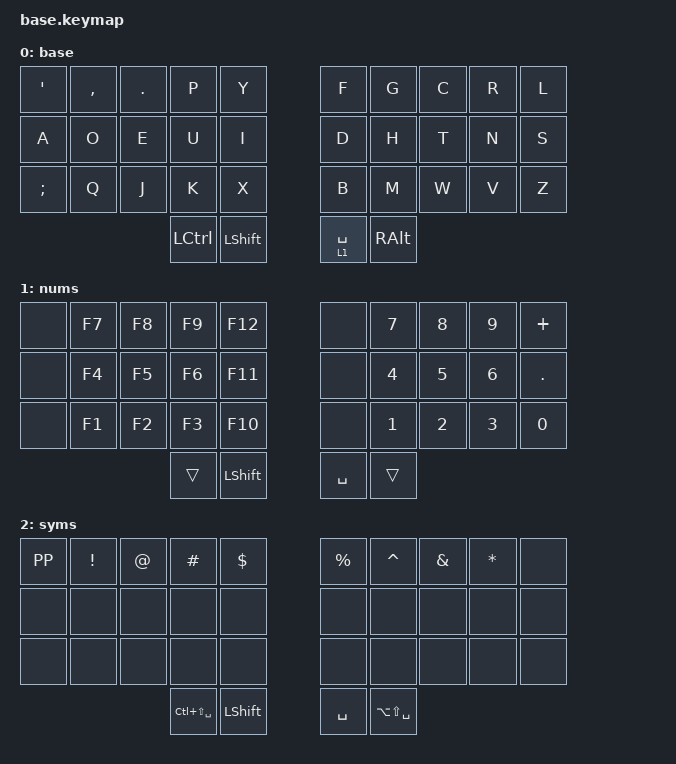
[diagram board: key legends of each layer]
// Copyright (c) 2022 The ZMK Contributors
// SPDX-License-Identifier: MIT

#include <behaviors.dtsi>
#include <dt-bindings/zmk/keys.h>

#include "../zmk-nodefree-config/helper.h"

#include "extra_keys.h"

#define ___ &trans
#define XXX &none

#define XXX &none
#define ___ &trans

/*                              34 KEY MATRIX / LAYOUT MAPPING

           ╭───────────────┬────────────────╮                 ╭─────────────────┬─────────────────╮
  ╭────────╯ 0   1   2   3 │  4   5   6   7 ╰───────╮ ╭───────╯ LT3 LT2 LT1 LT0 │ RT0 RT1 RT2 RT3 ╰───────╮
  │  8   9  10  11  12  13 │ 14  15  16  17  18  19 │ │ LM5 LM4 LM3 LM2 LM1 LM0 │ RM0 RM1 RM2 RM3 RM4 RM5 │
  ╰───╮ 20  21  22  23  24 │ 25  26  27  28  29 ╭───╯ ╰───╮ LB4 LB3 LB2 LB1 LB0 │ RB0 RB1 RB2 RB3 RB4 ╭───╯
      ╰───────────╮ 30  31 │ 32  33 ╭───────────╯         ╰───────────╮ LH1 LH0 │ RH0 RH1 ╭───────────╯
                  ╰────────┴────────╯                                 ╰─────────┴─────────╯             */

/* Global settings */

#define QUICK_TAP_MS 175

&lt {  // layer-tap config
    flavor = "balanced";
    tapping-term-ms = <200>;
    quick-tap-ms = <QUICK_TAP_MS>;
};

/* Combos and chords, the basis of basically this entire layout. */
#define COMBO_JOINTLY_MS 25
ZMK_COMBO(c_lsuper, &kp LGUI, LM2 LM1, ALL, COMBO_JOINTLY_MS)
ZMK_COMBO(c_rsuper, &kp RGUI, RM1 RM2, ALL, COMBO_JOINTLY_MS)
ZMK_COMBO(c_launcher, &kp LG(LS(SPACE)), LM2 LM1 RM1 RM2, ALL, COMBO_JOINTLY_MS)
ZMK_COMBO(c_esc, &kp ESC, LT3 LT2, ALL, COMBO_JOINTLY_MS)
ZMK_COMBO(c_grv, &kp GRAVE, LT3 LT2 LT0, ALL, COMBO_JOINTLY_MS)
ZMK_COMBO(c_tab, &kp TAB, LT4 LM4, ALL, COMBO_JOINTLY_MS)
ZMK_COMBO(c_ins, &kp INS, LT4 LM4 LB4, ALL, COMBO_JOINTLY_MS)
ZMK_COMBO(c_mins, &kp MINUS, RM3 RM4, ALL, COMBO_JOINTLY_MS)
ZMK_COMBO(c_ent, &kp ENTER, RM4 RT4, ALL, COMBO_JOINTLY_MS)
ZMK_COMBO(c_slsh, &kp SLASH, RB3 RB4, ALL, COMBO_JOINTLY_MS)
ZMK_COMBO(c_pipe, &kp BACKSLASH, RM4 RT4 RB4, ALL, COMBO_JOINTLY_MS)
ZMK_COMBO(c_plus, &kp PLUS, LB0 LB2 LB3, ALL, COMBO_JOINTLY_MS)
ZMK_COMBO(c_eql, &kp EQUAL, RB0 RB2 RB3, ALL, COMBO_JOINTLY_MS)
ZMK_COMBO(c_lprn, &kp LPAR, LT0 LT1, ALL, COMBO_JOINTLY_MS)
ZMK_COMBO(c_rprn, &kp RPAR, RT0 RT1, ALL, COMBO_JOINTLY_MS)
ZMK_COMBO(c_lbrk, &kp LBKT, LB0 LB1, ALL, COMBO_JOINTLY_MS)
ZMK_COMBO(c_rbrk, &kp RBKT, RB0 RB1, ALL, COMBO_JOINTLY_MS)
// c_lbrc and c_rbrc are implicit (and more forgiving of thumb timing) given LBKT/RBKT
// ([ ]) turning into { } with Shift
ZMK_COMBO(c_arrup, &kp UP, LT1 LT2, ALL, COMBO_JOINTLY_MS)
ZMK_COMBO(c_arrleft, &kp LEFT, LM2 LM3, ALL, COMBO_JOINTLY_MS)
ZMK_COMBO(c_arrright, &kp RIGHT, LM0 LM1, ALL, COMBO_JOINTLY_MS)
ZMK_COMBO(c_arrdown, &kp DOWN, LB1 LB2, ALL, COMBO_JOINTLY_MS)
ZMK_COMBO(c_pgup, &kp PG_UP, RT1 RT2, ALL, COMBO_JOINTLY_MS)
ZMK_COMBO(c_home, &kp HOME, RM0 RM1, ALL, COMBO_JOINTLY_MS)
ZMK_COMBO(c_end, &kp END, RM2 RM3, ALL, COMBO_JOINTLY_MS)
ZMK_COMBO(c_pgdn, &kp PG_DN, RB1 RB2, ALL, COMBO_JOINTLY_MS)
ZMK_COMBO(c_supup, &kp LG(UP), LT3 LT2 LT1, ALL, COMBO_JOINTLY_MS)
ZMK_COMBO(c_supleft, &kp LG(LEFT), LM3 LM2 LM1, ALL, COMBO_JOINTLY_MS)
ZMK_COMBO(c_supright, &kp LG(RIGHT), LM2 LM1 LM0, ALL, COMBO_JOINTLY_MS)
ZMK_COMBO(c_supdn, &kp LG(DOWN), LB3 LB2 LB1, ALL, COMBO_JOINTLY_MS)
ZMK_COMBO(c_mfa, &kp LG(O), LT2 LT1 LT0, ALL, COMBO_JOINTLY_MS)
ZMK_COMBO(c_pwd, &kp LG(LC(O)), RT0 RT1 RT2, ALL, COMBO_JOINTLY_MS)
ZMK_COMBO(c_brightup, &kp C_BRI_UP, RT1 RT2 RT3, ALL, COMBO_JOINTLY_MS)
ZMK_COMBO(c_brightdn, &kp C_BRI_DN, RB1 RB2 RB3, ALL, COMBO_JOINTLY_MS)
ZMK_COMBO(c_voldn, &kp K_VOL_DN, LB2 LB1 LB0, ALL, COMBO_JOINTLY_MS)
ZMK_COMBO(c_volup, &kp K_VOL_UP, RB0 RB1 RB2, ALL, COMBO_JOINTLY_MS)
ZMK_COMBO(c_volmute, &kp K_MUTE, LB2 LB1 LB0 RB0 RB1 RB2, ALL, COMBO_JOINTLY_MS)

// misc aliases
#define C_S_SPACE &kp LC(LS(SPACE))
#define A_S_SPACE &kp LA(LS(SPACE))
#define NUMS_SPACE &lt 1 SPACE

/* Keymap */

ZMK_LAYER(base,
// ╭─────────────┬─────────────┬─────────────┬─────────────┬─────────────╮ ╭─────────────┬─────────────┬─────────────┬─────────────┬─────────────╮
     &kp SQT       &kp COMMA     &kp DOT       &kp P         &kp Y           &kp F         &kp G         &kp C         &kp R         &kp L
// ├─────────────┼─────────────┼─────────────┼─────────────┼─────────────┤ ├─────────────┼─────────────┼─────────────┼─────────────┼─────────────┤
     &kp A         &kp O         &kp E         &kp U         &kp I           &kp D         &kp H         &kp T         &kp N         &kp S
// ├─────────────┼─────────────┼─────────────┼─────────────┼─────────────┤ ├─────────────┼─────────────┼─────────────┼─────────────┼─────────────┤
     &kp SEMICOLON &kp Q         &kp J         &kp K         &kp X           &kp B         &kp M         &kp W         &kp V         &kp Z
// ╰─────────────┴─────────────┴─────────────┼─────────────┼─────────────┤ ├─────────────┼─────────────┼─────────────┴─────────────┴─────────────╯
                                                             &kp LCTL      &kp LSHFT       NUMS_SPACE    &kp RALT
//                                                         ╰─────────────┴─────────────╯ ╰─────────────┴─────────────╯
)

ZMK_LAYER(nums,
//                             ╭─────────────┬─────────────┬─────────────┬─────────────╮ ╭─────────────┬─────────────┬─────────────┬─────────────╮
                   XXX           &kp F7        &kp F8        &kp F9        &kp F12         XXX           &kp 7         &kp 8         &kp 9         &kp PLUS
// ╭─────────────┬─────────────┼─────────────┼─────────────┼─────────────┼─────────────┤ ├─────────────┼─────────────┼─────────────┼─────────────┼─────────────┬─────────────╮
                   XXX           &kp F4        &kp F5        &kp F6        &kp F11         XXX           &kp 4         &kp 5         &kp 6         &kp DOT
// ╰─────────────├─────────────┼─────────────┼─────────────┼─────────────┼─────────────┤ ├─────────────┼─────────────┼─────────────┼─────────────┼─────────────┤─────────────╯
                   XXX           &kp F1        &kp F2        &kp F3        &kp F10         XXX           &kp 1         &kp 2         &kp 3         &kp 0
//               ╰─────────────┴─────────────┴─────────────┼─────────────┼─────────────┤ ├─────────────┼─────────────┼─────────────┴─────────────┴─────────────╯
                                                             ___           &kp LSHFT       &kp SPACE     ___
//                                                         ╰─────────────┴─────────────╯ ╰─────────────┴─────────────╯
)

ZMK_LAYER(syms,
//                             ╭─────────────┬─────────────┬─────────────┬─────────────╮ ╭─────────────┬─────────────┬─────────────┬─────────────╮
                   &kp K_PP      &kp EXCL      &kp AT        &kp POUND     &kp DLLR        &kp PRCNT     &kp CARET     &kp AMPS      &kp STAR      XXX
// ╭─────────────┬─────────────┼─────────────┼─────────────┼─────────────┼─────────────┤ ├─────────────┼─────────────┼─────────────┼─────────────┼─────────────┬─────────────╮
                   XXX           XXX           XXX           XXX           XXX             XXX           XXX           XXX           XXX           XXX
// ╰─────────────├─────────────┼─────────────┼─────────────┼─────────────┼─────────────┤ ├─────────────┼─────────────┼─────────────┼─────────────┼─────────────┤─────────────╯
                   XXX           XXX           XXX           XXX           XXX             XXX           XXX           XXX           XXX           XXX
//               ╰─────────────┴─────────────┴─────────────┼─────────────┼─────────────┤ ├─────────────┼─────────────┼─────────────┴─────────────┴─────────────╯
                                                             C_S_SPACE     &kp LSHFT       &kp SPACE     A_S_SPACE
//                                                         ╰─────────────┴─────────────╯ ╰─────────────┴─────────────╯
)

/* vim: set ft=c tw=174: */

